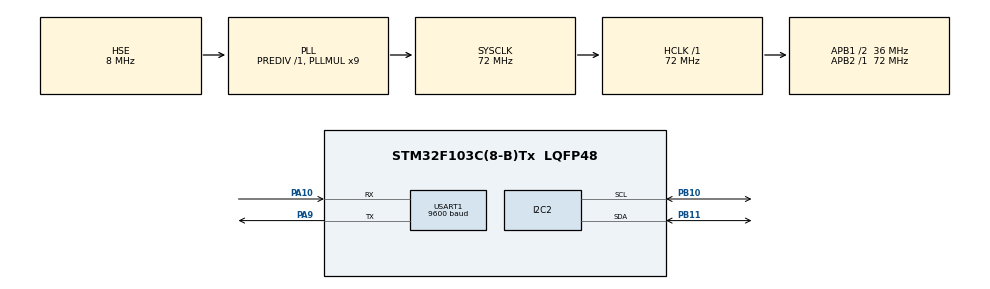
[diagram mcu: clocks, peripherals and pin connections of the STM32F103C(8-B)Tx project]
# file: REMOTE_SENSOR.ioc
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Dma.Request0=USART1_TX
Dma.Request1=USART1_RX
Dma.USART1_RX.1.Direction=DMA_PERIPH_TO_MEMORY
Dma.USART1_RX.1.Instance=DMA1_Channel5
Dma.USART1_RX.1.MemDataAlignment=DMA_MDATAALIGN_BYTE
Dma.USART1_RX.1.MemInc=DMA_MINC_ENABLE
Dma.USART1_RX.1.Mode=DMA_NORMAL
Dma.USART1_RX.1.PeriphDataAlignment=DMA_PDATAALIGN_BYTE
Dma.USART1_RX.1.PeriphInc=DMA_PINC_DISABLE
Dma.USART1_RX.1.Priority=DMA_PRIORITY_LOW
Dma.USART1_TX.0.Direction=DMA_MEMORY_TO_PERIPH
Dma.USART1_TX.0.Instance=DMA1_Channel4
Dma.USART1_TX.0.MemDataAlignment=DMA_MDATAALIGN_BYTE
Dma.USART1_TX.0.MemInc=DMA_MINC_ENABLE
Dma.USART1_TX.0.Mode=DMA_NORMAL
Dma.USART1_TX.0.PeriphDataAlignment=DMA_PDATAALIGN_BYTE
Dma.USART1_TX.0.PeriphInc=DMA_PINC_DISABLE
Dma.USART1_TX.0.Priority=DMA_PRIORITY_LOW
Mcu.Family=STM32F1
Mcu.Name=STM32F103C(8-B)Tx
Mcu.Package=LQFP48
NVIC.DMA1_Channel4_IRQn=true\:0\:0\:false\:false\:true\:false\:true
NVIC.DMA1_Channel5_IRQn=true\:0\:0\:false\:false\:true\:false\:true
NVIC.PriorityGroup=NVIC_PRIORITYGROUP_4
NVIC.USART1_IRQn=true\:0\:0\:false\:false\:true\:true\:true
PA10.Mode=Asynchronous
PA10.Signal=USART1_RX
PA13.Mode=Serial_Wire
PA13.Signal=SYS_JTMS-SWDIO
PA14.Mode=Serial_Wire
PA14.Signal=SYS_JTCK-SWCLK
PA9.Mode=Asynchronous
PA9.Signal=USART1_TX
PB10.Mode=I2C
PB10.Signal=I2C2_SCL
PB11.Mode=I2C
PB11.Signal=I2C2_SDA
PD0-OSC_IN.Mode=HSE-External-Oscillator
PD0-OSC_IN.Signal=RCC_OSC_IN
PD1-OSC_OUT.Mode=HSE-External-Oscillator
PD1-OSC_OUT.Signal=RCC_OSC_OUT
ProjectManager.HeapSize=0x200
ProjectManager.StackSize=0x400
ProjectManager.TargetToolchain=MDK-ARM V5
RCC.AHBFreq_Value=72000000
RCC.APB1CLKDivider=RCC_HCLK_DIV2
RCC.APB1Freq_Value=36000000
RCC.APB1TimFreq_Value=72000000
RCC.APB2Freq_Value=72000000
RCC.APB2TimFreq_Value=72000000
RCC.HCLKFreq_Value=72000000
RCC.PLLMUL=RCC_PLL_MUL9
RCC.PLLSourceVirtual=RCC_PLLSOURCE_HSE
RCC.RCC_MCOSource=RCC_MCO1SOURCE_HSE
RCC.RTCClockSelection=RCC_RTCCLKSOURCE_HSE_DIV128
RCC.SYSCLKFreq_VALUE=72000000
RCC.SYSCLKSource=RCC_SYSCLKSOURCE_PLLCLK
RCC.USBFreq_Value=72000000
USART1.BaudRate=9600
USART1.VirtualMode=VM_ASYNC
board=F103C8T6_UART_DMA_RTC_HD44780

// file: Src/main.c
/* USER CODE BEGIN Header */
/**
  ******************************************************************************
  * @file           : main.c
  * @brief          : Main program body
  ******************************************************************************
  * @attention
  *
  * <h2><center>&copy; Copyright (c) 2019 STMicroelectronics.
  * All rights reserved.</center></h2>
  *
  * This software component is licensed by ST under BSD 3-Clause license,
  * the "License"; You may not use this file except in compliance with the
  * License. You may obtain a copy of the License at:
  *                        opensource.org/licenses/BSD-3-Clause
  *
  ******************************************************************************
  */
/* USER CODE END Header */
#include "main.h"

/* USER CODE BEGIN Includes */
#include <stdio.h>
#include "sht3x.h"

/* USER CODE END Includes */

I2C_HandleTypeDef hi2c2;

UART_HandleTypeDef huart1;
DMA_HandleTypeDef hdma_usart1_tx;
DMA_HandleTypeDef hdma_usart1_rx;

/* USER CODE BEGIN PV */
/* Private variables ---------------------------------------------------------*/
double temperature = 0.0, humidity = 0.0;

char strBuffer[9], strUsart[256];

//uint8_t rx_buffer[256];
uint8_t rx_index = 0;
uint8_t rx_data;
uint8_t stringSend[256] = {0};

/* USER CODE END PV */

void SystemClock_Config(void);
static void MX_GPIO_Init(void);
static void MX_DMA_Init(void);
static void MX_USART1_UART_Init(void);
static void MX_I2C2_Init(void);
/* USER CODE BEGIN PFP */
/* Private function prototypes -----------------------------------------------*/

/* USER CODE END PFP */

int main(void)
{
  /* USER CODE BEGIN 1 */
//	char str[16] = {0};
  /* USER CODE END 1 */

  /* MCU Configuration--------------------------------------------------------*/

  /* Reset of all peripherals, Initializes the Flash interface and the Systick. */
  HAL_Init();

  /* Configure the system clock */
  SystemClock_Config();

  /* Initialize all configured peripherals */
  MX_GPIO_Init();
  MX_DMA_Init();
  MX_USART1_UART_Init();
  MX_I2C2_Init();

  /* Infinite loop */
  /* USER CODE BEGIN WHILE */
    while (1) {

		SHT3X_Update();
		temperature = SHT3X_getTemperature();
		humidity = SHT3X_getHumidity();

		double temperatureDroppoint = temperature * 10;
		char sendT[4] = {0};
		int16_t varT = temperatureDroppoint;

		if (temperature >= 10 && temperature <= 40) {
				sprintf(sendT, "0%d", varT);
		} else if ((temperature >= 0 && temperature < 10)) {
				sprintf(sendT, "00%d", varT);
		} else if (temperature < 0 && temperature > -10) {
				sprintf(sendT, "-0%d", varT * -1);
		} else if (temperature <= -10 && temperature >= -40) {
				sprintf(sendT, "%d", varT);
		}

		double humidityDroppoint = humidity * 10;
		char sendH[3] = {0};
		int16_t varH = humidityDroppoint;
		sprintf(sendH, "%d", varH);
		if (humidityDroppoint) {
				snprintf((char *) stringSend, sizeof stringSend, "RS%s%s\r\n", sendT, sendH);
				HAL_UART_Transmit(&huart1, stringSend, sizeof(stringSend), 1000);
		}

		HAL_Delay(5000);

    /* USER CODE END WHILE */

    }
}

void SystemClock_Config(void)
{
  RCC_OscInitTypeDef RCC_OscInitStruct = {0};
  RCC_ClkInitTypeDef RCC_ClkInitStruct = {0};

  /** Initializes the RCC Oscillators according to the specified parameters
  * in the RCC_OscInitTypeDef structure.
  */
  RCC_OscInitStruct.OscillatorType = RCC_OSCILLATORTYPE_HSE;
  RCC_OscInitStruct.HSEState = RCC_HSE_ON;
  RCC_OscInitStruct.HSEPredivValue = RCC_HSE_PREDIV_DIV1;
  RCC_OscInitStruct.HSIState = RCC_HSI_ON;
  RCC_OscInitStruct.PLL.PLLState = RCC_PLL_ON;
  RCC_OscInitStruct.PLL.PLLSource = RCC_PLLSOURCE_HSE;
  RCC_OscInitStruct.PLL.PLLMUL = RCC_PLL_MUL9;
  if (HAL_RCC_OscConfig(&RCC_OscInitStruct) != HAL_OK)
  {
    Error_Handler();
  }
  /** Initializes the CPU, AHB and APB buses clocks
  */
  RCC_ClkInitStruct.ClockType = RCC_CLOCKTYPE_HCLK|RCC_CLOCKTYPE_SYSCLK
                              |RCC_CLOCKTYPE_PCLK1|RCC_CLOCKTYPE_PCLK2;
  RCC_ClkInitStruct.SYSCLKSource = RCC_SYSCLKSOURCE_PLLCLK;
  RCC_ClkInitStruct.AHBCLKDivider = RCC_SYSCLK_DIV1;
  RCC_ClkInitStruct.APB1CLKDivider = RCC_HCLK_DIV2;
  RCC_ClkInitStruct.APB2CLKDivider = RCC_HCLK_DIV1;

  if (HAL_RCC_ClockConfig(&RCC_ClkInitStruct, FLASH_LATENCY_2) != HAL_OK)
  {
    Error_Handler();
  }
}

static void MX_I2C2_Init(void)
{

  hi2c2.Instance = I2C2;
  hi2c2.Init.ClockSpeed = 100000;
  hi2c2.Init.DutyCycle = I2C_DUTYCYCLE_2;
  hi2c2.Init.OwnAddress1 = 0;
  hi2c2.Init.AddressingMode = I2C_ADDRESSINGMODE_7BIT;
  hi2c2.Init.DualAddressMode = I2C_DUALADDRESS_DISABLE;
  hi2c2.Init.OwnAddress2 = 0;
  hi2c2.Init.GeneralCallMode = I2C_GENERALCALL_DISABLE;
  hi2c2.Init.NoStretchMode = I2C_NOSTRETCH_DISABLE;
  if (HAL_I2C_Init(&hi2c2) != HAL_OK)
  {
    Error_Handler();
  }

}

static void MX_USART1_UART_Init(void)
{

  huart1.Instance = USART1;
  huart1.Init.BaudRate = 9600;
  huart1.Init.WordLength = UART_WORDLENGTH_8B;
  huart1.Init.StopBits = UART_STOPBITS_1;
  huart1.Init.Parity = UART_PARITY_NONE;
  huart1.Init.Mode = UART_MODE_TX_RX;
  huart1.Init.HwFlowCtl = UART_HWCONTROL_NONE;
  huart1.Init.OverSampling = UART_OVERSAMPLING_16;
  if (HAL_UART_Init(&huart1) != HAL_OK)
  {
    Error_Handler();
  }

}

static void MX_DMA_Init(void)
{

  /* DMA controller clock enable */
  __HAL_RCC_DMA1_CLK_ENABLE();

  /* DMA interrupt init */
  /* DMA1_Channel4_IRQn interrupt configuration */
  HAL_NVIC_SetPriority(DMA1_Channel4_IRQn, 0, 0);
  HAL_NVIC_EnableIRQ(DMA1_Channel4_IRQn);
  /* DMA1_Channel5_IRQn interrupt configuration */
  HAL_NVIC_SetPriority(DMA1_Channel5_IRQn, 0, 0);
  HAL_NVIC_EnableIRQ(DMA1_Channel5_IRQn);

}

static void MX_GPIO_Init(void)
{

  /* GPIO Ports Clock Enable */
  __HAL_RCC_GPIOD_CLK_ENABLE();
  __HAL_RCC_GPIOB_CLK_ENABLE();
  __HAL_RCC_GPIOA_CLK_ENABLE();

}

void Error_Handler(void)
{
    while (1) {
    }
}

/************************ (C) COPYRIGHT STMicroelectronics *****END OF FILE****/
